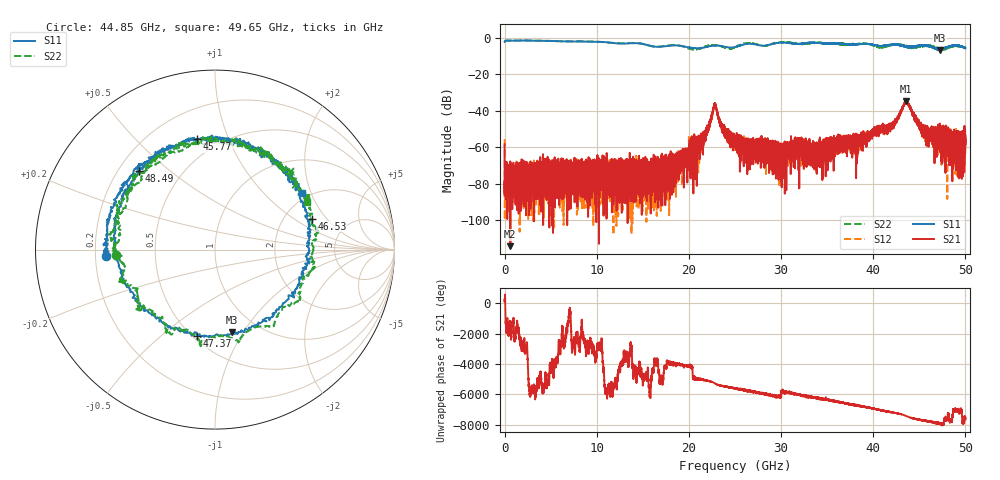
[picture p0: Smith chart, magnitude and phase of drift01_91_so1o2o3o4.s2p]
!Created with skrf (http://scikit-rf.org).
# Hz S RI R 50.0
!freq ReS11 ImS11 ReS21 ImS21 ReS12 ImS12 ReS22 ImS22
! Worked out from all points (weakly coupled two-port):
!   10001 points, 300 kHz to 50 GHz, reference 50 ohm
!   highest |S21| = -34.62 dB at 43.59 GHz (marker M1); lowest = -114.2 dB at 625.3 MHz (marker M2)
!   lowest |S11| = -6.6 dB at 47.21 GHz (marker M3), VSWR 2.76, Z = 37.9 - j44.4 ohm
!   |S11| at or under -10 dB: nowhere
!   |S22| runs from -6.5 to -1.4 dB; largest |S21 - S12| = 0.0044
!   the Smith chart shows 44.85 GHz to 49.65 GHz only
!   S11 on the Smith chart (normalised r, x): 44.85 GHz: 0.24, -0.03; 45.77 GHz: 0.39, +0.78; 46.53 GHz: 2.80, +1.42; 47.37 GHz: 0.53, -0.67; 48.49 GHz: 0.28, +0.39; 49.65 GHz: 1.82, +1.74
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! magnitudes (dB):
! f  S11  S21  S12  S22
! 300 kHz  -2.1  -58.3  -55.6  -2.1
! 255.3 MHz  -1.4  -79.9  -91.2  -1.4
! 625.3 MHz  -1.5  -114.2  -74.7  -1.5
! 8.335 GHz  -1.9  -74.6  -76.4  -1.8
! 16.67 GHz  -4.8  -66.9  -76.9  -4.8
! 20.95 GHz  -5.6  -59.9  -62.0  -6.1
! 22.8 GHz  -4.3  -36.3  -36.3  -4.0
! 23.84 GHz  -4.7  -50.2  -50.9  -5.1
! 25 GHz  -5.0  -56.6  -54.2  -5.1
! 29.82 GHz  -2.6  -61.7  -60.3  -2.4
! 31.89 GHz  -3.2  -60.8  -59.0  -3.4
! 33.34 GHz  -2.6  -62.7  -58.8  -2.6
! 41.67 GHz  -3.9  -47.4  -49.3  -4.2
! 43.59 GHz  -4.9  -34.6  -35.2  -4.7
! 44.85 GHz  -4.3  -45.4  -46.5  -5.1
! 45.77 GHz  -4.1  -51.7  -53.3  -4.4
! 46.53 GHz  -5.0  -52.4  -54.8  -5.0
! 47.21 GHz  -6.6  -48.5  -60.2  -5.9
! 47.37 GHz  -6.2  -54.2  -54.2  -5.7
! 48.49 GHz  -4.3  -54.9  -54.6  -4.9
! 49.65 GHz  -4.7  -66.8  -64.0  -4.7
! 50 GHz  -5.6  -55.5  -54.7  -5.4
